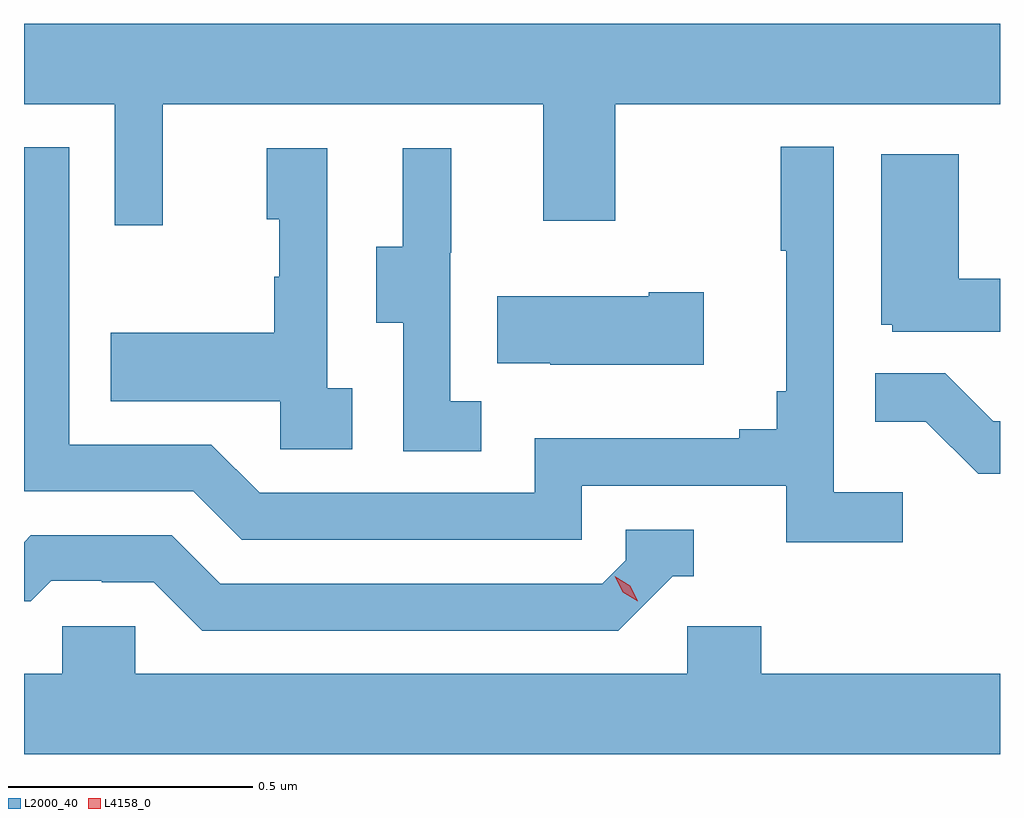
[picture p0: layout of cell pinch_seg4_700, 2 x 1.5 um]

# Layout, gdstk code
import gdstk
lib = gdstk.Library(unit=1e-6, precision=1e-09)
def P(c, l, *ps):  # polygons
    for p in ps: c.add(gdstk.Polygon(p, *l))
L2000_40 = (2000, 40)
L4158_0 = (4158, 0)

pinch_seg4_700 = lib.new_cell('pinch_seg4_700')
P(pinch_seg4_700, L2000_40, [(1107.149,768.848),(1107.929,768.848),(1107.929,768.609),(1108.077,768.609),(1108.077,768.848),(1108.865,768.848),(1108.865,769.012),(1106.865,769.012),(1106.865,768.848),(1107.051,768.848),(1107.051,768.6),(1107.149,768.6)],
  [(1108.666,768.052),(1108.524,768.052),(1108.524,768.76),(1108.416,768.76),(1108.416,768.547),(1108.427,768.547),(1108.427,768.259),(1108.408,768.259),(1108.408,768.182),(1108.331,768.182),(1108.331,768.163),(1107.912,768.163),(1107.912,768.051),(1107.348,768.051),(1107.249,768.15),(1106.958,768.15),(1106.958,768.759),(1106.865,768.759),(1106.865,768.054),(1107.212,768.054),(1107.311,767.955),(1108.008,767.955),(1108.008,768.066),(1108.427,768.066),(1108.427,767.95),(1108.666,767.95)],
  [(1107.538,768.266),(1107.486,768.266),(1107.486,768.757),(1107.362,768.757),(1107.362,768.612),(1107.388,768.612),(1107.388,768.494),(1107.378,768.494),(1107.378,768.379),(1107.043,768.379),(1107.043,768.239),(1107.39,768.239),(1107.39,768.141),(1107.538,768.141)],
  [(1107.802,768.239),(1107.738,768.239),(1107.738,768.543),(1107.74,768.543),(1107.74,768.757),(1107.641,768.757),(1107.641,768.555),(1107.587,768.555),(1107.587,768.4),(1107.642,768.4),(1107.642,768.136),(1107.802,768.136)],
  [(1108.865,768.49),(1108.78,768.49),(1108.78,768.745),(1108.622,768.745),(1108.622,768.396),(1108.644,768.396),(1108.644,768.381),(1108.865,768.381)],
  [(1108.258,768.462),(1108.145,768.462),(1108.145,768.454),(1107.835,768.454),(1107.835,768.317),(1107.943,768.317),(1107.943,768.314),(1108.258,768.314)],
  [(1108.865,768.198),(1108.851,768.198),(1108.753,768.296),(1108.609,768.296),(1108.609,768.197),(1108.713,768.197),(1108.82,768.09),(1108.865,768.09)],
  [(1108.194,767.88),(1108.237,767.88),(1108.237,767.976),(1108.098,767.976),(1108.098,767.913),(1108.05,767.865),(1107.267,767.865),(1107.168,767.964),(1106.879,767.964),(1106.865,767.95),(1106.865,767.829),(1106.879,767.829),(1106.921,767.871),(1107.024,767.871),(1107.024,767.868),(1107.131,767.868),(1107.23,767.769),(1108.083,767.769)],
  [(1108.865,767.68),(1108.376,767.68),(1108.376,767.778),(1108.224,767.778),(1108.224,767.68),(1107.093,767.68),(1107.093,767.778),(1106.943,767.778),(1106.943,767.68),(1106.865,767.68),(1106.865,767.516),(1108.865,767.516)])
P(pinch_seg4_700, L4158_0, [(1108.123,767.829),(1108.092,767.848),(1108.076,767.88),(1108.076,767.88),(1108.076,767.88),(1108.107,767.861),(1108.123,767.829),(1108.123,767.829)])

lib.write_gds('pinch_seg4_700.gds')
